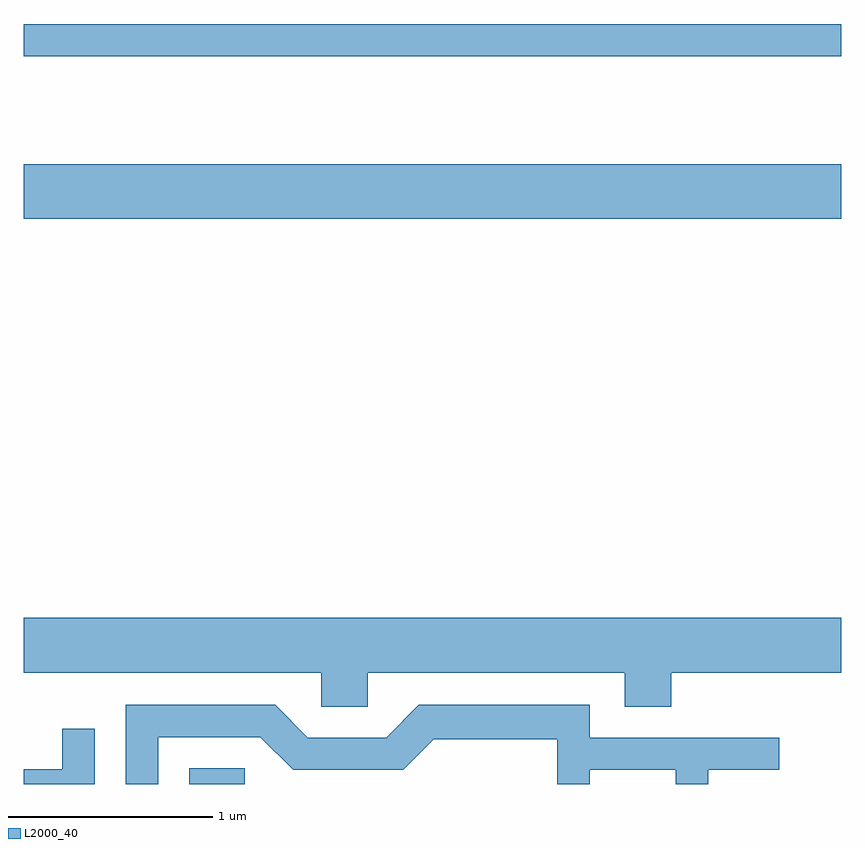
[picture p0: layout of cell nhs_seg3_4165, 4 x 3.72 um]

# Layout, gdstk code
import gdstk
lib = gdstk.Library(unit=1e-6, precision=1e-09)
def R(c, l, rs):  # rectangles x0, y0, x1, y1
    for r in rs: c.add(gdstk.rectangle(r[:2], r[2:], *l))
def P(c, l, *ps):  # polygons
    for p in ps: c.add(gdstk.Polygon(p, *l))
L2000_40 = (2000, 40)

nhs_seg3_4165 = lib.new_cell('nhs_seg3_4165')
R(nhs_seg3_4165, L2000_40, [(308.421,1149.892,308.693,1149.969), (307.611,1152.656,311.611,1152.924), (307.611,1153.451,311.611,1153.609)])
P(nhs_seg3_4165, L2000_40, [(309.294,1150.436),(310.551,1150.436),(310.551,1150.271),(310.779,1150.271),(310.779,1150.436),(311.611,1150.436),(311.611,1150.704),(307.611,1150.704),(307.611,1150.436),(309.066,1150.436),(309.066,1150.271),(309.294,1150.271)],
  [(308.269,1150.121),(308.769,1150.121),(308.929,1149.961),(309.467,1149.961),(309.617,1150.111),(310.221,1150.111),(310.221,1149.892),(310.379,1149.892),(310.379,1149.961),(310.801,1149.961),(310.801,1149.892),(310.959,1149.892),(310.959,1149.961),(311.308,1149.961),(311.308,1150.119),(310.379,1150.119),(310.379,1150.279),(309.544,1150.279),(309.384,1150.119),(309.002,1150.119),(308.842,1150.279),(308.111,1150.279),(308.111,1149.892),(308.269,1149.892)],
  [(307.959,1150.163),(307.801,1150.163),(307.801,1149.964),(307.611,1149.964),(307.611,1149.892),(307.959,1149.892)])

lib.write_gds('nhs_seg3_4165.gds')
